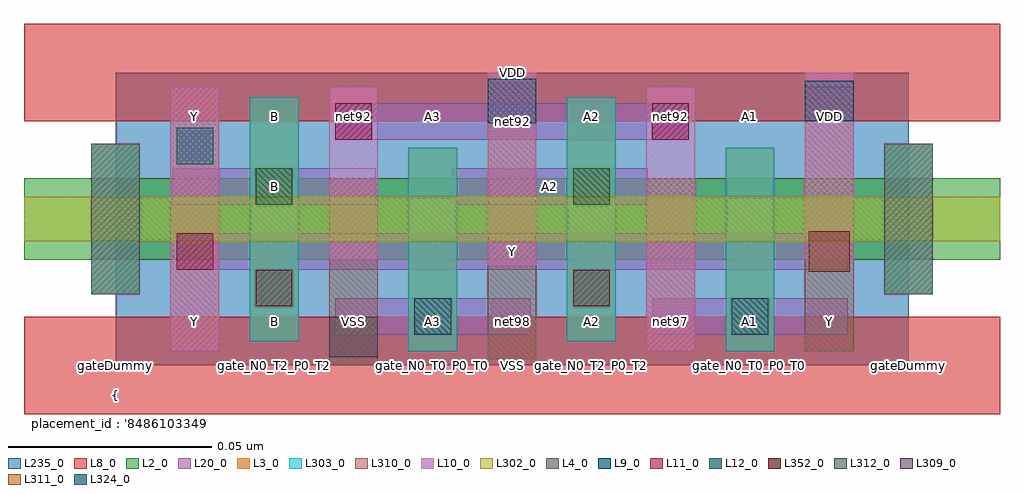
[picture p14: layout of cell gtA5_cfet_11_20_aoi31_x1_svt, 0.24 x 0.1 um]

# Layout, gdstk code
import gdstk
lib = gdstk.Library(unit=1e-6, precision=2.5e-10)
def R(c, l, rs):  # rectangles x0, y0, x1, y1
    for r in rs: c.add(gdstk.rectangle(r[:2], r[2:], *l))
L2_0 = (2, 0)
L3_0 = (3, 0)
L4_0 = (4, 0)
L8_0 = (8, 0)
L9_0 = (9, 0)
L10_0 = (10, 0)
L11_0 = (11, 0)
L12_0 = (12, 0)
L20_0 = (20, 0)
L235_0 = (235, 0)
L302_0 = (302, 0)
L303_0 = (303, 0)
L309_0 = (309, 0)
L310_0 = (310, 0)
L311_0 = (311, 0)
L312_0 = (312, 0)
L324_0 = (324, 0)
L352_0 = (352, 0)

gta5_cfet_11_20_aoi31_x1 = lib.new_cell('gtA5_cfet_11_20_aoi31_x1_svt')
R(gta5_cfet_11_20_aoi31_x1, L2_0, [(-0.0225,0.026,0.2175,0.046)])
R(gta5_cfet_11_20_aoi31_x1, L3_0, [(0.072,0.0035,0.084,0.0535), (0.15,0.0035,0.162,0.0535), (0.033,0.006,0.045,0.066), (0.111,0.006,0.123,0.066), (-0.006,0.0175,0.006,0.0545), (0.189,0.0175,0.201,0.0545)])
R(gta5_cfet_11_20_aoi31_x1, L4_0, [(-0.006,0.0175,0.006,0.0545), (0.189,0.0175,0.201,0.0545)])
R(gta5_cfet_11_20_aoi31_x1, L8_0, [(-0.0225,-0.012,0.2175,0.012), (-0.0225,0.06,0.2175,0.084)])
R(gta5_cfet_11_20_aoi31_x1, L9_0, [(0.0915,0.0595,0.1035,0.0705), (0.1695,0.06,0.1815,0.07)])
R(gta5_cfet_11_20_aoi31_x1, L10_0, [(0.0135,0.0035,0.0255,0.0685), (0.1305,0.0035,0.1425,0.0685), (0.0915,0.0245,0.1035,0.072), (0.0525,0.026,0.0645,0.0685), (0.1695,0.026,0.1815,0.072)])
R(gta5_cfet_11_20_aoi31_x1, L11_0, [(0.015,0.0235,0.024,0.0325), (0.054,0.0555,0.063,0.0645), (0.132,0.0555,0.141,0.0645)])
R(gta5_cfet_11_20_aoi31_x1, L12_0, [(0.0735,0.0075,0.0825,0.0165), (0.1515,0.0075,0.1605,0.0165)])
R(gta5_cfet_11_20_aoi31_x1, L20_0, [(0.054,0.0075,0.102,0.0165), (0.132,0.0075,0.18,0.0165), (0.015,0.0235,0.18,0.0325), (0.014,0.0395,0.064,0.0485), (0.0828,0.0395,0.1308,0.0485), (0.054,0.0555,0.141,0.0645)])
R(gta5_cfet_11_20_aoi31_x1, L235_0, [(0,0,0.195,0.072)])
R(gta5_cfet_11_20_aoi31_x1, L302_0, [(-0.0225,0.0305,0.2175,0.0415)])
R(gta5_cfet_11_20_aoi31_x1, L303_0, [(0.072,0.0035,0.084,0.0535), (0.15,0.0035,0.162,0.0535), (0.033,0.006,0.045,0.066), (0.111,0.006,0.123,0.066), (-0.006,0.0175,0.006,0.0545), (0.189,0.0175,0.201,0.0545)])
R(gta5_cfet_11_20_aoi31_x1, L309_0, [(0.0525,0.002,0.0645,0.012)])
R(gta5_cfet_11_20_aoi31_x1, L310_0, [(0.0525,0,0.0645,0.046), (0.0915,0.0015,0.1035,0.0705), (0.0135,0.0035,0.0255,0.0685), (0.1305,0.0035,0.1425,0.046), (0.1695,0.0035,0.1815,0.0685)])
R(gta5_cfet_11_20_aoi31_x1, L311_0, [(0.1705,0.023,0.1805,0.033)])
R(gta5_cfet_11_20_aoi31_x1, L312_0, [(0.0345,0.0395,0.0435,0.0485), (0.1125,0.0395,0.1215,0.0485)])
R(gta5_cfet_11_20_aoi31_x1, L324_0, [(0.015,0.0495,0.024,0.0585)])
R(gta5_cfet_11_20_aoi31_x1, L352_0, [(0.0345,0.0145,0.0435,0.0235), (0.1125,0.0145,0.1215,0.0235)])
gta5_cfet_11_20_aoi31_x1.add(gdstk.Label('net92', (0.0975,0.06), layer=100, texttype=100))
gta5_cfet_11_20_aoi31_x1.add(gdstk.Label('gateDummy', (0,0), layer=103, texttype=103))
gta5_cfet_11_20_aoi31_x1.add(gdstk.Label('sd_N0_T1_P0_T1', (0.0195,0), layer=103, texttype=103))
gta5_cfet_11_20_aoi31_x1.add(gdstk.Label('gate_N0_T2_P0_T2', (0.039,0), layer=103, texttype=103))
gta5_cfet_11_20_aoi31_x1.add(gdstk.Label('sd_N0_VSS_P0_T3', (0.0585,0), layer=103, texttype=103))
gta5_cfet_11_20_aoi31_x1.add(gdstk.Label('gate_N0_T0_P0_T0', (0.078,0), layer=103, texttype=103))
gta5_cfet_11_20_aoi31_x1.add(gdstk.Label('sd_P0_VDD', (0.0975,0), layer=103, texttype=103))
gta5_cfet_11_20_aoi31_x1.add(gdstk.Label('gate_N0_T2_P0_T2', (0.117,0), layer=103, texttype=103))
gta5_cfet_11_20_aoi31_x1.add(gdstk.Label('sd_N0_abut_P0_T3', (0.1365,0), layer=103, texttype=103))
gta5_cfet_11_20_aoi31_x1.add(gdstk.Label('gate_N0_T0_P0_T0', (0.156,0), layer=103, texttype=103))
gta5_cfet_11_20_aoi31_x1.add(gdstk.Label('sd_N0_T1_P0_VDD', (0.1755,0), layer=103, texttype=103))
gta5_cfet_11_20_aoi31_x1.add(gdstk.Label('gateDummy', (0.195,0), layer=103, texttype=103))
gta5_cfet_11_20_aoi31_x1.add(gdstk.Label('}', (0,-0.0785), layer=104, texttype=104))
gta5_cfet_11_20_aoi31_x1.add(gdstk.Label('  power : None', (0,-0.0713), layer=104, texttype=104))
gta5_cfet_11_20_aoi31_x1.add(gdstk.Label('  performance : None', (0,-0.0643), layer=104, texttype=104))
gta5_cfet_11_20_aoi31_x1.add(gdstk.Label("  solution_hash : '15420103860186243604'", (0,-0.057), layer=104, texttype=104))
gta5_cfet_11_20_aoi31_x1.add(gdstk.Label('  number_m2 : 0', (0,-0.05), layer=104, texttype=104))
gta5_cfet_11_20_aoi31_x1.add(gdstk.Label('  number_m1 : 0', (0,-0.0428), layer=104, texttype=104))
gta5_cfet_11_20_aoi31_x1.add(gdstk.Label('  number_m0cuts : 0', (0,-0.0358), layer=104, texttype=104))
gta5_cfet_11_20_aoi31_x1.add(gdstk.Label('  number_m0 : 6', (0,-0.0285), layer=104, texttype=104))
gta5_cfet_11_20_aoi31_x1.add(gdstk.Label("  solution_number : '0000'", (0,-0.0215), layer=104, texttype=104))
gta5_cfet_11_20_aoi31_x1.add(gdstk.Label("  placement_id : '8486103349760868119'", (0,-0.0143), layer=104, texttype=104))
gta5_cfet_11_20_aoi31_x1.add(gdstk.Label('{', (0,-0.0073), layer=104, texttype=104))
gta5_cfet_11_20_aoi31_x1.add(gdstk.Label('Y', (0.0195,0.0108), layer=105, texttype=105))
gta5_cfet_11_20_aoi31_x1.add(gdstk.Label('B', (0.039,0.0108), layer=105, texttype=105))
gta5_cfet_11_20_aoi31_x1.add(gdstk.Label('VSS', (0.0585,0.0108), layer=105, texttype=105))
gta5_cfet_11_20_aoi31_x1.add(gdstk.Label('A3', (0.078,0.0108), layer=105, texttype=105))
gta5_cfet_11_20_aoi31_x1.add(gdstk.Label('net98', (0.0975,0.0108), layer=105, texttype=105))
gta5_cfet_11_20_aoi31_x1.add(gdstk.Label('A2', (0.117,0.0108), layer=105, texttype=105))
gta5_cfet_11_20_aoi31_x1.add(gdstk.Label('net97', (0.1365,0.0108), layer=105, texttype=105))
gta5_cfet_11_20_aoi31_x1.add(gdstk.Label('A1', (0.156,0.0108), layer=105, texttype=105))
gta5_cfet_11_20_aoi31_x1.add(gdstk.Label('Y', (0.1755,0.0108), layer=105, texttype=105))
gta5_cfet_11_20_aoi31_x1.add(gdstk.Label('Y', (0.0195,0.0612), layer=105, texttype=105))
gta5_cfet_11_20_aoi31_x1.add(gdstk.Label('B', (0.039,0.0612), layer=105, texttype=105))
gta5_cfet_11_20_aoi31_x1.add(gdstk.Label('net92', (0.0585,0.0612), layer=105, texttype=105))
gta5_cfet_11_20_aoi31_x1.add(gdstk.Label('A3', (0.078,0.0612), layer=105, texttype=105))
gta5_cfet_11_20_aoi31_x1.add(gdstk.Label('VDD', (0.0975,0.0612), layer=105, texttype=105))
gta5_cfet_11_20_aoi31_x1.add(gdstk.Label('A2', (0.117,0.0612), layer=105, texttype=105))
gta5_cfet_11_20_aoi31_x1.add(gdstk.Label('net92', (0.1365,0.0612), layer=105, texttype=105))
gta5_cfet_11_20_aoi31_x1.add(gdstk.Label('A1', (0.156,0.0612), layer=105, texttype=105))
gta5_cfet_11_20_aoi31_x1.add(gdstk.Label('VDD', (0.1755,0.0612), layer=105, texttype=105))
gta5_cfet_11_20_aoi31_x1.add(gdstk.Label('VSS', (0.0975,0), layer=8, texttype=0))
gta5_cfet_11_20_aoi31_x1.add(gdstk.Label('VDD', (0.0975,0.072), layer=8, texttype=0))
gta5_cfet_11_20_aoi31_x1.add(gdstk.Label('A3', (0.078,0.012), layer=20, texttype=251))
gta5_cfet_11_20_aoi31_x1.add(gdstk.Label('A1', (0.156,0.012), layer=20, texttype=251))
gta5_cfet_11_20_aoi31_x1.add(gdstk.Label('Y', (0.0975,0.028), layer=20, texttype=251))
gta5_cfet_11_20_aoi31_x1.add(gdstk.Label('B', (0.039,0.044), layer=20, texttype=251))
gta5_cfet_11_20_aoi31_x1.add(gdstk.Label('A2', (0.1067,0.044), layer=20, texttype=251))
gta5_cfet_11_20_aoi31_x1.add(gdstk.Label('gtA5_cfet_11_20_aoi31_x1_rvt_0', (0,0), layer=235, texttype=0))

lib.write_gds('gtA5_cfet_11_20_aoi31_x1_svt.gds')
